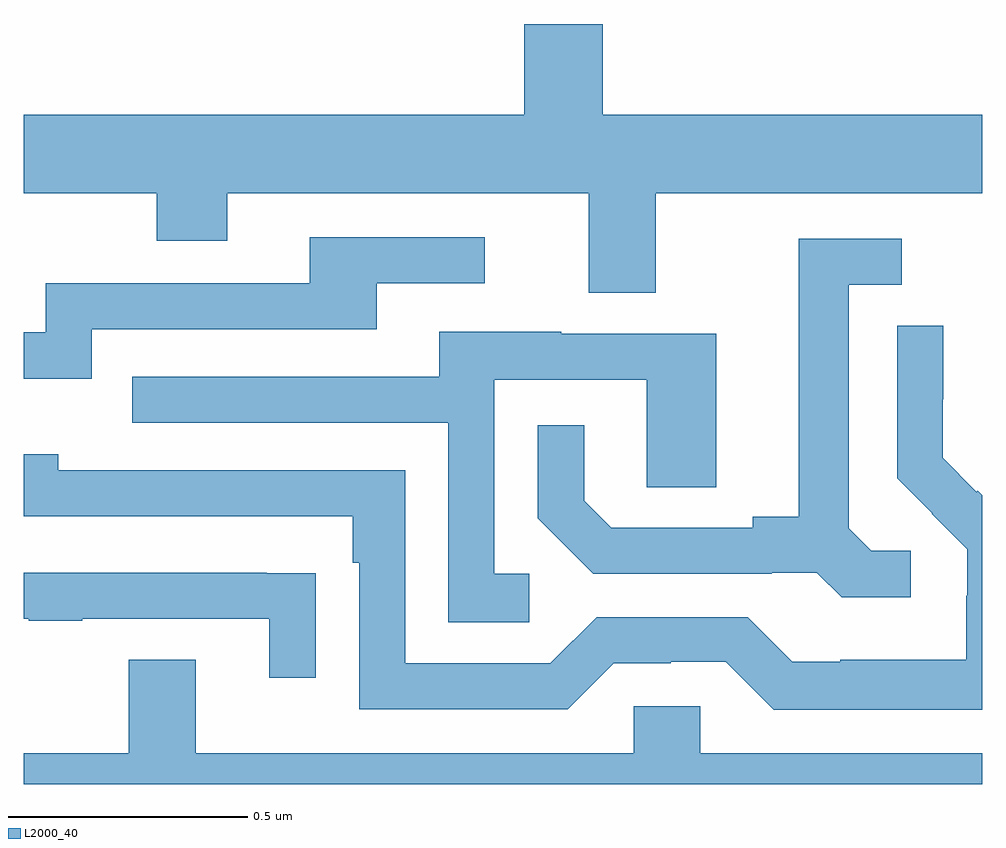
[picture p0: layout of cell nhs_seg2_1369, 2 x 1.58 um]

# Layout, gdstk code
import gdstk
lib = gdstk.Library(unit=1e-6, precision=1e-09)
def P(c, l, *ps):  # polygons
    for p in ps: c.add(gdstk.Polygon(p, *l))
L2000_40 = (2000, 40)

nhs_seg2_1369 = lib.new_cell('nhs_seg2_1369')
P(nhs_seg2_1369, L2000_40, [(129.044,585.196),(128,585.196),(128,585.032),(128.278,585.032),(128.278,584.933),(128.425,584.933),(128.425,585.032),(129.179,585.032),(129.179,584.824),(129.319,584.824),(129.319,585.032),(130,585.032),(130,585.196),(129.208,585.196),(129.208,585.385),(129.044,585.385)],
  [(128.142,584.748),(128.737,584.748),(128.737,584.844),(128.962,584.844),(128.962,584.94),(128.597,584.94),(128.597,584.844),(128.046,584.844),(128.046,584.742),(128,584.742),(128,584.645),(128.142,584.645)],
  [(129.85,584.286),(129.768,584.286),(129.721,584.333),(129.721,584.841),(129.832,584.841),(129.832,584.937),(129.617,584.937),(129.617,584.357),(129.521,584.357),(129.521,584.334),(129.226,584.334),(129.169,584.391),(129.169,584.548),(129.072,584.548),(129.072,584.354),(129.188,584.238),(129.56,584.238),(129.56,584.241),(129.654,584.241),(129.706,584.189),(129.85,584.189)],
  [(130,584.402),(129.99,584.412),(129.987,584.409),(129.917,584.48),(129.917,584.602),(129.918,584.602),(129.918,584.756),(129.822,584.756),(129.822,584.438),(129.895,584.365),(129.894,584.364),(129.968,584.29),(129.968,584.193),(129.966,584.193),(129.966,584.059),(129.703,584.059),(129.703,584.055),(129.603,584.055),(129.51,584.148),(129.195,584.148),(129.099,584.052),(128.796,584.052),(128.796,584.454),(128.072,584.454),(128.072,584.488),(128,584.488),(128,584.358),(128.687,584.358),(128.687,584.261),(128.7,584.261),(128.7,583.956),(129.135,583.956),(129.231,584.052),(129.35,584.052),(129.35,584.055),(129.465,584.055),(129.565,583.955),(130,583.955)],
  [(129.055,584.238),(128.982,584.238),(128.982,584.643),(129.3,584.643),(129.3,584.419),(129.445,584.419),(129.445,584.739),(129.121,584.739),(129.121,584.743),(128.867,584.743),(128.867,584.649),(128.227,584.649),(128.227,584.553),(128.886,584.553),(128.886,584.137),(129.055,584.137)],
  [(128.609,584.24),(128.507,584.24),(128.507,584.241),(128,584.241),(128,584.145),(128.011,584.145),(128.011,584.14),(128.123,584.14),(128.123,584.145),(128.513,584.145),(128.513,584.022),(128.609,584.022)],
  [(130,583.864),(129.411,583.864),(129.411,583.962),(129.273,583.962),(129.273,583.864),(128.359,583.864),(128.359,584.059),(128.219,584.059),(128.219,583.864),(128,583.864),(128,583.8),(130,583.8)])

lib.write_gds('nhs_seg2_1369.gds')
